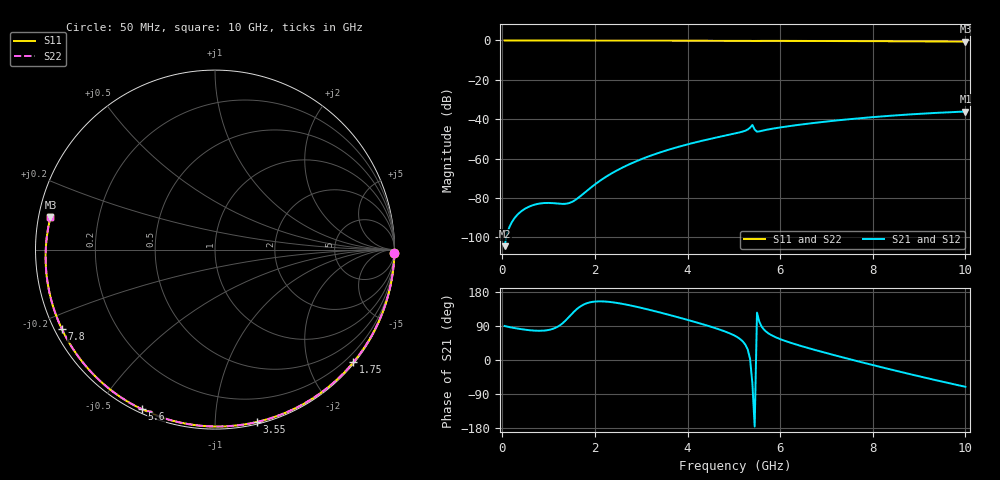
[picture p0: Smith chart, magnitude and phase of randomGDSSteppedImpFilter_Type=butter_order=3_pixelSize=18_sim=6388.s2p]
! freq	dB(S11)	phase(S11)	dB(S12)	phase(S12)
!  dB(S21)	phase(S21)	dB(S22)	phase(S22)
!S-par simulation data
#  GHz  S  DB  R 50
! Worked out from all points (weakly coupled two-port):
!   200 points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, 50 MHz to 10 GHz, reference 50 ohm
!   highest |S21| = -36.12 dB at 10 GHz (marker M1); lowest = -104.5 dB at 50 MHz (marker M2)
!   lowest |S11| = -0.6 dB at 10 GHz (marker M3), VSWR 29.54, Z = 1.71 + j4.86 ohm
!   |S11| at or under -10 dB: nowhere
!   |S22| runs from -0.6 to 0.0 dB; largest |S21 - S12| = 0
!   S11 on the Smith chart (normalised r, x): 50 MHz: open; 1.75 GHz: 0.03, -2.81; 3.55 GHz: 0.02, -1.27; 5.6 GHz: 0.02, -0.64; 7.8 GHz: 0.02, -0.24; 10 GHz: 0.03, +0.10
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0.05  -0.00 -1.1  -104.54 89.8  -104.54 89.8  -0.00 -1.2
0.8  -0.02 -18.1  -82.90 77.1  -82.90 77.1  -0.02 -18.1
1.6  -0.05 -35.9  -80.69 133.3  -80.69 133.3  -0.05 -35.9
1.65  -0.05 -36.9  -79.81 138.3  -79.81 138.3  -0.05 -37.0
1.75  -0.05 -39.1  -77.90 145.9  -77.90 145.9  -0.05 -39.1
2.1  -0.06 -46.7  -71.46 154.8  -71.46 154.8  -0.06 -46.7
2.45  -0.07 -54.1  -66.37 151.1  -66.37 151.1  -0.07 -54.1
2.9  -0.08 -63.4  -61.31 140.4  -61.31 140.4  -0.08 -63.4
3.4  -0.10 -73.5  -56.95 125.6  -56.95 125.6  -0.10 -73.5
3.55  -0.10 -76.4  -55.82 120.8  -55.82 120.8  -0.10 -76.5
4.3  -0.13 -90.9  -51.05 95.4  -51.05 95.4  -0.13 -91.0
5.05  -0.16 -104.9  -47.16 62.1  -47.16 62.1  -0.16 -105.0
5.3  -0.18 -109.5  -45.26 27.6  -45.26 27.6  -0.18 -109.6
5.4  -0.26 -111.4  -42.95 -60.9  -42.95 -60.9  -0.26 -111.5
5.45  -0.25 -111.7  -45.29 -175.6  -45.29 -175.6  -0.25 -111.8
5.5  -0.20 -112.7  -46.36 125.0  -46.36 125.0  -0.21 -112.7
5.6  -0.19 -114.5  -45.93 88.2  -45.93 88.2  -0.19 -114.6
6.7  -0.26 -133.8  -42.00 28.3  -42.00 28.3  -0.26 -133.9
7.8  -0.34 -152.6  -39.36 -7.2  -39.36 -7.2  -0.34 -152.7
8.35  -0.40 -162.0  -38.32 -23.9  -38.32 -23.9  -0.40 -162.1
9.2  -0.49 -176.7  -37.02 -48.7  -37.02 -48.7  -0.49 -176.8
10  -0.59 168.9  -36.12 -70.7  -36.12 -70.7  -0.59 168.8
